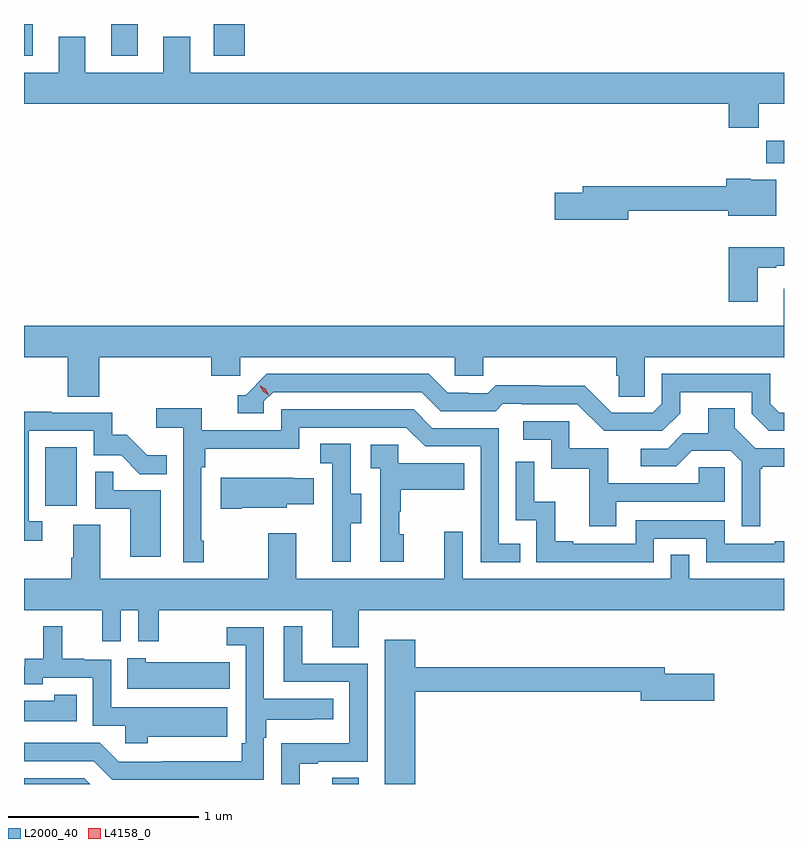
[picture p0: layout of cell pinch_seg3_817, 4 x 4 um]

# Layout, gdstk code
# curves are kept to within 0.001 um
import gdstk
lib = gdstk.Library(unit=1e-6, precision=1e-09)
def R(c, l, rs):  # rectangles x0, y0, x1, y1
    for r in rs: c.add(gdstk.rectangle(r[:2], r[2:], *l))
def P(c, l, *ps):  # polygons
    for p in ps: c.add(gdstk.Polygon(p, *l))
L2000_40 = (2000, 40)
L4158_0 = (4158, 0)

pinch_seg3_817 = lib.new_cell('pinch_seg3_817')
R(pinch_seg3_817, L2000_40, [(855.695,725.309,855.835,725.342), (854.186,726.774,854.35,727.081), (857.98,728.576,858.073,728.695), (854.073,729.141,854.119,729.309), (854.531,729.141,854.671,729.309), (855.071,729.141,855.236,729.309)])
P(pinch_seg3_817, L2000_40, [(857.939,728.888),(858.073,728.888),(858.073,729.052),(854.947,729.052),(854.947,729.242),(854.807,729.242),(854.807,729.052),(854.395,729.052),(854.395,729.242),(854.255,729.242),(854.255,729.052),(854.073,729.052),(854.073,728.888),(857.783,728.888),(857.783,728.764),(857.939,728.764)],
  [(857.254,728.326),(857.78,728.326),(857.78,728.3),(858.031,728.3),(858.031,728.488),(857.898,728.488),(857.898,728.494),(857.768,728.494),(857.768,728.455),(857.015,728.455),(857.015,728.421),(856.866,728.421),(856.866,728.279),(857.254,728.279)],
  [(857.935,728.025),(858.031,728.025),(858.031,728.037),(858.073,728.037),(858.073,728.134),(857.783,728.134),(857.783,727.848),(857.935,727.848)],
  [(854.073,727.556),(854.303,727.556),(854.303,727.348),(854.468,727.348),(854.468,727.556),(855.059,727.556),(855.059,727.458),(855.21,727.458),(855.21,727.556),(856.341,727.556),(856.341,727.458),(856.491,727.458),(856.491,727.556),(857.189,727.556),(857.189,727.458),(857.203,727.458),(857.203,727.348),(857.34,727.348),(857.34,727.556),(858.073,727.556),(858.073,727.915),(858.071,727.915),(858.071,727.72),(854.073,727.72)],
  [(857.527,727.261),(857.527,727.371),(857.904,727.371),(857.904,727.257),(857.994,727.167),(858.073,727.167),(858.073,727.263),(858.048,727.263),(858,727.311),(858,727.467),(857.43,727.467),(857.43,727.311),(857.382,727.263),(857.166,727.263),(857.024,727.405),(856.788,727.405),(856.788,727.408),(856.555,727.408),(856.513,727.365),(856.41,727.365),(856.41,727.368),(856.303,727.368),(856.204,727.467),(855.351,727.467),(855.24,727.356),(855.197,727.356),(855.197,727.26),(855.336,727.26),(855.336,727.323),(855.384,727.371),(856.167,727.371),(856.266,727.272),(856.555,727.272),(856.594,727.311),(856.693,727.311),(856.693,727.308),(856.986,727.308),(857.127,727.167),(857.433,727.167)],
  [(855.019,726.589),(855.006,726.589),(855.006,726.977),(855.026,726.977),(855.026,727.073),(855.522,727.073),(855.522,727.185),(856.086,727.185),(856.185,727.086),(856.476,727.086),(856.476,726.477),(856.685,726.477),(856.685,726.573),(856.572,726.573),(856.572,727.182),(856.222,727.182),(856.123,727.281),(855.426,727.281),(855.426,727.17),(855.008,727.17),(855.008,727.286),(854.769,727.286),(854.769,727.184),(854.91,727.184),(854.91,726.477),(855.019,726.477)],
  [(857.947,726.969),(857.959,726.969),(857.959,726.98),(858.073,726.98),(858.073,727.077),(857.922,727.077),(857.815,727.184),(857.815,727.286),(857.675,727.286),(857.675,727.154),(857.54,727.154),(857.46,727.074),(857.319,727.074),(857.319,726.981),(857.506,726.981),(857.587,727.062),(857.793,727.062),(857.85,727.005),(857.85,726.666),(857.947,726.666)],
  [(854.17,726.693),(854.097,726.693),(854.097,727.167),(854.439,727.167),(854.439,727.038),(854.584,727.038),(854.682,726.94),(854.825,726.94),(854.825,727.039),(854.721,727.039),(854.614,727.146),(854.538,727.146),(854.538,727.263),(854.219,727.263),(854.219,727.268),(854.073,727.268),(854.073,726.588),(854.17,726.588)],
  [(857.191,726.795),(857.76,726.795),(857.76,726.975),(857.623,726.975),(857.623,726.891),(857.149,726.891),(857.149,727.077),(856.944,727.077),(856.944,727.218),(856.701,727.218),(856.701,727.122),(856.848,727.122),(856.848,726.969),(857.047,726.969),(857.047,726.666),(857.191,726.666)],
  [(855.793,726.682),(855.847,726.682),(855.847,726.837),(855.792,726.837),(855.792,727.1),(855.633,727.1),(855.633,726.997),(855.696,726.997),(855.696,726.693),(855.695,726.693),(855.695,726.48),(855.793,726.48)],
  [(856.072,726.624),(856.047,726.624),(856.047,726.743),(856.057,726.743),(856.057,726.857),(856.391,726.857),(856.391,726.997),(856.044,726.997),(856.044,727.095),(855.897,727.095),(855.897,726.971),(855.948,726.971),(855.948,726.48),(856.072,726.48)],
  [(857.388,726.6),(857.664,726.6),(857.664,726.477),(858.073,726.477),(858.073,726.586),(858.023,726.586),(858.023,726.573),(857.76,726.573),(857.76,726.696),(857.292,726.696),(857.292,726.573),(856.963,726.573),(856.963,726.586),(856.868,726.586),(856.868,726.794),(856.758,726.794),(856.758,727.006),(856.662,727.006),(856.662,726.696),(856.77,726.696),(856.77,726.477),(857.388,726.477)],
  [(854.794,726.855),(854.543,726.855),(854.543,726.953),(854.448,726.953),(854.448,726.759),(854.633,726.759),(854.633,726.504),(854.794,726.504)],
  [(855.22,726.764),(855.456,726.764),(855.456,726.782),(855.599,726.782),(855.599,726.919),(855.491,726.919),(855.491,726.922),(855.108,726.922),(855.108,726.757),(855.22,726.757)],
  [(858.073,726.388),(857.574,726.388),(857.574,726.515),(857.478,726.515),(857.478,726.388),(856.383,726.388),(856.383,726.637),(856.286,726.637),(856.286,726.388),(855.505,726.388),(855.505,726.628),(855.358,726.628),(855.358,726.388),(854.473,726.388),(854.473,726.674),(854.333,726.674),(854.333,726.5),(854.321,726.5),(854.321,726.388),(854.073,726.388),(854.073,726.224),(854.486,726.224),(854.486,726.06),(854.583,726.06),(854.583,726.224),(854.673,726.224),(854.673,726.06),(854.782,726.06),(854.782,726.224),(855.695,726.224),(855.695,726.028),(855.835,726.028),(855.835,726.224),(858.073,726.224)],
  [(854.723,725.558),(855.142,725.558),(855.142,725.713),(854.8,725.713),(854.8,725.712),(854.532,725.712),(854.532,725.964),(854.39,725.964),(854.39,725.969),(854.273,725.969),(854.273,726.139),(854.174,726.139),(854.174,725.969),(854.076,725.969),(854.076,725.931),(854.073,725.931),(854.073,725.835),(854.172,725.835),(854.172,725.868),(854.436,725.868),(854.436,725.616),(854.607,725.616),(854.607,725.523),(854.723,725.523)],
  [(855.523,725.415),(855.619,725.415),(855.619,725.427),(855.882,725.427),(855.882,725.943),(855.538,725.943),(855.538,726.139),(855.441,726.139),(855.441,725.847),(855.786,725.847),(855.786,725.523),(855.426,725.523),(855.426,725.309),(855.523,725.309)],
  [(855.336,725.552),(855.349,725.552),(855.349,725.648),(855.701,725.649),(855.701,725.758),(855.336,725.758),(855.336,726.135),(855.141,726.135),(855.141,726.039),(855.24,726.039),(855.24,725.524),(855.22,725.524),(855.22,725.428),(854.571,725.427),(854.472,725.526),(854.073,725.526),(854.073,725.43),(854.439,725.43),(854.538,725.331),(855.336,725.331)],
  [(856.132,725.794),(857.318,725.794),(857.318,725.747),(857.707,725.747),(857.707,725.889),(857.446,725.889),(857.446,725.923),(856.132,725.923),(856.132,726.067),(855.971,726.067),(855.971,725.309),(856.132,725.309)],
  [(855.155,725.95),(854.715,725.95),(854.715,725.971),(854.617,725.971),(854.617,725.81),(855.155,725.81)],
  [(854.351,725.779),(854.231,725.779),(854.231,725.746),(854.073,725.746),(854.073,725.639),(854.351,725.639)],
  [(854.391,725.34),(854.073,725.34),(854.073,725.309),(854.422,725.309)])
P(pinch_seg3_817, L4158_0, [(855.359,727.357),(855.329,727.376),(855.313,727.409),(855.313,727.409),(855.313,727.409),(855.344,727.39),(855.36,727.357),(855.36,727.357)])

lib.write_gds('pinch_seg3_817.gds')
